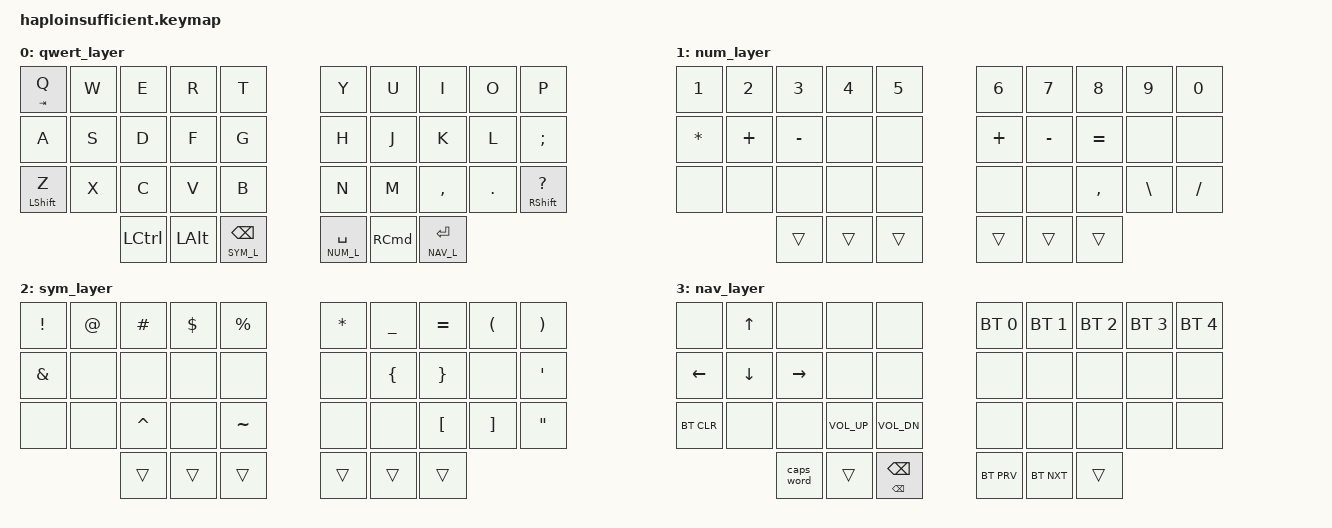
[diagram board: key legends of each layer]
/*
 * Copyright (c) 2021 The ZMK Contributors
 *
 * SPDX-License-Identifier: MIT
 */

#include <behaviors.dtsi>
#include <dt-bindings/zmk/bt.h>
#include <dt-bindings/zmk/keys.h>

//&sk {
//    release-after-ms = <750>;
//    quick-release;
//};

&caps_word {
    continue-list = <DEL MINUS BSPC>;
};

#define QWERT_L 0
#define NUM_L   1
#define SYM_L   2
#define NAV_L   3
//#define FUN_L   4

#define MY_COPY LC(INSERT)
#define MY_PASTE LS(INSERT)
//#define VI_U LC(Z)
//#define VI_W LC(RIGHT)
//#define VI_B LC(LEFT)

/ {
    combos {
        compatible = "zmk,combos";

    // shortcut
    #define COMBO(NAME, BINDINGS, KEYPOS, TIMEOUT) \
          combo_##NAME { \
            timeout-ms = <TIMEOUT>; \
            bindings = <BINDINGS>; \
            key-positions = <KEYPOS>; \
          };

        /*                KEY POSITIONS

          ╭────────────────────╮ ╭────────────────────╮
          │  0   1   2   3   4 │ │  5   6   7   8   9 │
          │ 10  11  12  13  14 │ │ 15  16  17  18  19 │
          │ 20  21  22  23  24 │ │ 25  26  27  28  29 │
          ╰───────╮ 30  31  32 │ │ 33  34  35 ╭───────╯
                  ╰────────────╯ ╰────────────╯        */


        //COMBO(semicolon, &kp SEMI, 18 19, 60
        //COMBO(slash, &kp FSLH, 1 2, 60)
        COMBO(escape, &kp ESC, 0 1, 60)
        //COMBO(minus, &kp MINUS, 31 32, 60)
        COMBO(underscore, &kp UNDER, 32 33, 60)
        //COMBO(capslock, &caps_word, 20 21, 60)
        COMBO(reset_left, &bootloader, 0 1 2 3, 100)
        //COMBO(reset_right, &bootloader, 6 7 8 9, 100)
    };

    behaviors {
        base_lt: base_layer_hold_tap {
            compatible = "zmk,behavior-hold-tap";
            label = "BASE_LAYER_HOLD_TAP";
            #binding-cells = <2>;
            flavor = "tap-preferred";
            tapping-term-ms = <200>;
            quick-tap-ms = <75>;
            global-quick-tap;
            bindings = <&mo>, <&kp>;
        };

    };

	keymap {
		compatible = "zmk,keymap";

        // QWERTY
		qwert_layer {
			bindings = <
                   &mt TAB Q    &kp W         &kp E         &kp R              &kp T              &kp Y               &kp U            &kp I                 &kp O         &kp P
                   &kp A        &kp S         &kp D         &kp F              &kp G              &kp H               &kp J            &kp K                 &kp L         &kp SEMI
                   &mt LSHFT Z  &kp X         &kp C         &kp V              &kp B              &kp N               &kp M            &kp COMMA             &kp DOT       &mt RSHFT QMARK
				 /*&            &*/              &kp LCTRL       &kp LALT      &base_lt SYM_L BSPC    &base_lt NUM_L SPACE     &kp RCMD       &base_lt NAV_L RET     /*  &             &*/
			>;
		};

		num_layer {
			bindings = <
                   &kp N1       &kp N2        &kp N3        &kp N4             &kp N5             &kp N6              &kp N7           &kp N8                   &kp N9        &kp N0
                   &kp STAR     &kp PLUS      &kp MINUS     &none              &none              &kp PLUS            &kp MINUS        &kp EQUAL                &none         &none 
                   &none        &none         &none         &none              &none              &none               &none            &kp COMMA                &kp BSLH      &kp FSLH
				 /*&            &*/         &trans             &trans             &trans              &trans           &trans                   &trans     /*             &             &*/
			>;
		};

		sym_layer {
			bindings = <
                   &kp EXCL     &kp AT        &kp HASH      &kp DLLR           &kp PRCNT          &kp STAR            &kp UNDER        &kp EQUAL                &kp LPAR      &kp RPAR
                   &kp AMPS     &none         &none         &none              &none              &none               &kp LBRC         &kp RBRC                 &none         &kp APOS
                   &none        &none         &kp CARET     &none              &kp TILDE          &none               &none            &kp LBKT                 &kp RBKT      &kp DQT
				 /*&            &*/         &trans             &trans             &trans              &trans           &trans                   &trans     /*             &             &*/
			>;
		};

		nav_layer {
			bindings = <
                   &none        &kp UP        &none         &none              &none             &bt BT_SEL 0        &bt BT_SEL 1     &bt BT_SEL 2             &bt BT_SEL 3  &bt BT_SEL 4
                   &kp LEFT     &kp DOWN      &kp RIGHT     &none              &none             &none               &none            &none                    &none         &none 
                   &bt BT_CLR   &none         &none         &kp C_VOL_UP       &kp C_VOL_DN      &none               &none            &none                    &none         &none 
				 /*&            &*/         &caps_word         &trans            &mt BSPC BSPC    &bt BT_PRV       &bt BT_NXT               &trans     /*            &             &*/
			>;
		};
	};
};
